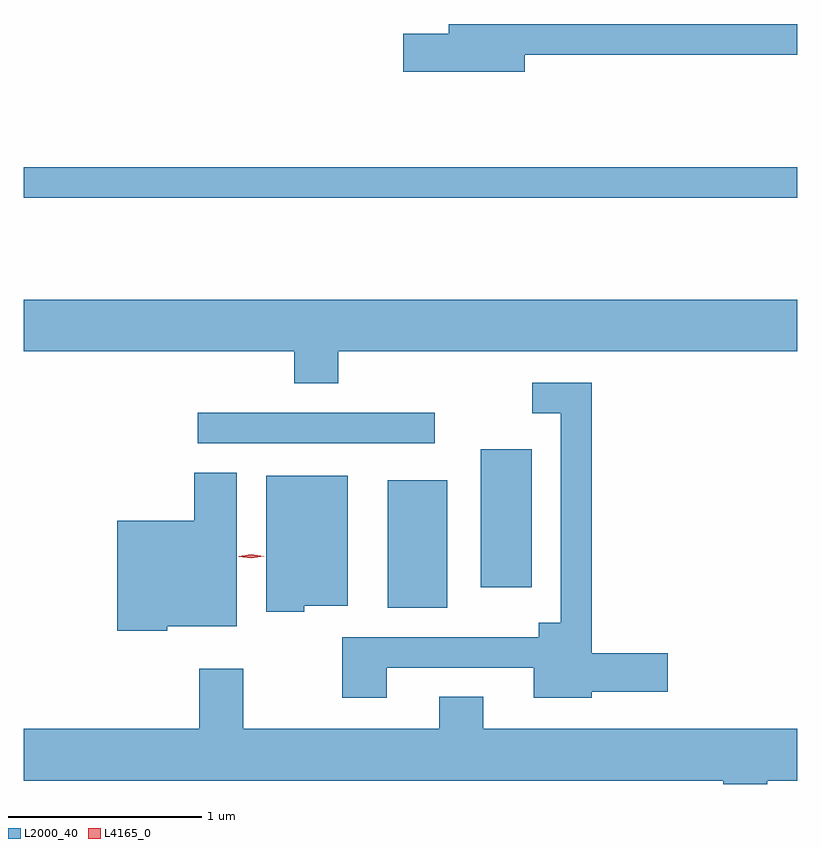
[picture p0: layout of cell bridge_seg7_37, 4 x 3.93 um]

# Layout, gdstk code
import gdstk
lib = gdstk.Library(unit=1e-6, precision=1e-09)
def R(c, l, rs):  # rectangles x0, y0, x1, y1
    for r in rs: c.add(gdstk.rectangle(r[:2], r[2:], *l))
def P(c, l, *ps):  # polygons
    for p in ps: c.add(gdstk.Polygon(p, *l))
L2000_40 = (2000, 40)
L4165_0 = (4165, 0)

bridge_seg7_37 = lib.new_cell('bridge_seg7_37')
R(bridge_seg7_37, L2000_40, [(1775.846,1777.371,1776.154,1778.029), (1776.326,1777.476,1776.589,1778.189), (1774.863,1778.221,1776.088,1778.379), (1773.963,1779.491,1777.963,1779.649)])
P(bridge_seg7_37, L2000_40, [(1776.554,1780.231),(1777.963,1780.231),(1777.963,1780.389),(1776.161,1780.389),(1776.161,1780.339),(1775.926,1780.339),(1775.926,1780.141),(1776.554,1780.141)],
  [(1775.589,1778.696),(1777.963,1778.696),(1777.963,1778.964),(1773.963,1778.964),(1773.963,1778.696),(1775.361,1778.696),(1775.361,1778.531),(1775.589,1778.531)],
  [(1775.839,1777.061),(1776.601,1777.061),(1776.601,1776.906),(1776.899,1776.906),(1776.899,1776.936),(1777.294,1776.936),(1777.294,1777.134),(1776.899,1777.134),(1776.899,1778.534),(1776.593,1778.534),(1776.593,1778.376),(1776.741,1778.376),(1776.741,1777.294),(1776.626,1777.294),(1776.626,1777.219),(1775.611,1777.219),(1775.611,1776.906),(1775.839,1776.906)],
  [(1774.704,1777.276),(1775.064,1777.276),(1775.064,1778.069),(1774.846,1778.069),(1774.846,1777.819),(1774.446,1777.819),(1774.446,1777.251),(1774.704,1777.251)],
  [(1775.414,1777.381),(1775.639,1777.381),(1775.639,1778.054),(1775.216,1778.054),(1775.216,1777.351),(1775.414,1777.351)],
  [(1777.809,1776.476),(1777.963,1776.476),(1777.963,1776.744),(1776.339,1776.744),(1776.339,1776.909),(1776.111,1776.909),(1776.111,1776.744),(1775.099,1776.744),(1775.099,1777.054),(1774.871,1777.054),(1774.871,1776.744),(1773.963,1776.744),(1773.963,1776.476),(1777.581,1776.476),(1777.581,1776.459),(1777.809,1776.459)])
P(bridge_seg7_37, L4165_0, [(1775.14,1777.626),(1775.074,1777.635),(1775.074,1777.635),(1775.074,1777.636),(1775.14,1777.646),(1775.206,1777.637),(1775.206,1777.637),(1775.206,1777.636)])

lib.write_gds('bridge_seg7_37.gds')
